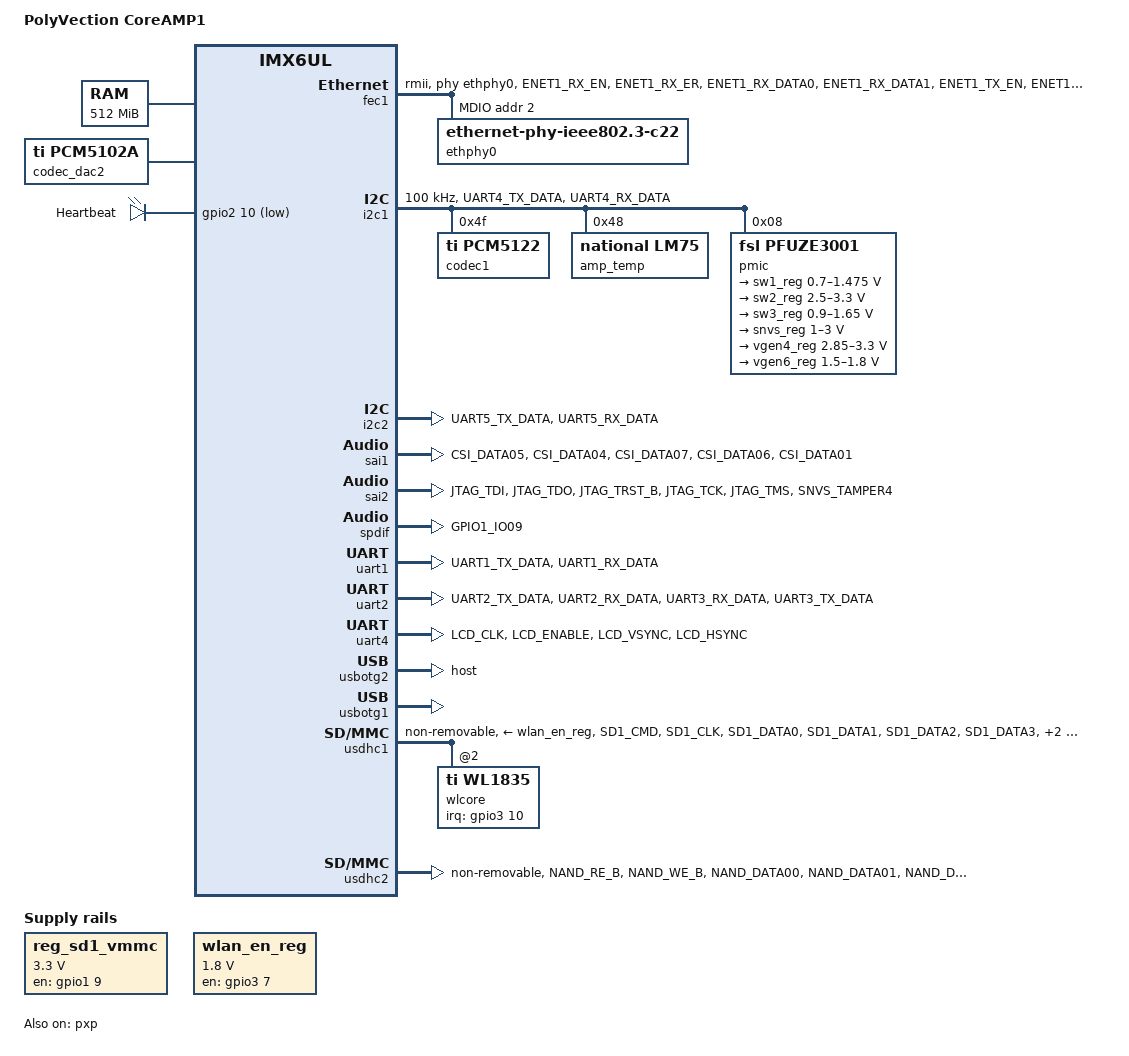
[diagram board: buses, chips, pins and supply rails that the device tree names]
/*
 * Copyright (C) 2015 Freescale Semiconductor, Inc.
 *
 * This program is free software; you can redistribute it and/or modify
 * it under the terms of the GNU General Public License version 2 as
 * published by the Free Software Foundation.
 *
 */

/dts-v1/;

#include <dt-bindings/input/input.h>
#include <dt-bindings/interrupt-controller/irq.h>
#include "imx6ul.dtsi"

/ {
	model = "PolyVection CoreAMP1";
	compatible = "polyvection,polycore1", "fsl,imx6ul";

	chosen {
		stdout-path = &uart1;
	};

	memory {
		reg = <0x80000000 0x20000000>;
	};

	reserved-memory {
		#address-cells = <1>;
		#size-cells = <1>;
		ranges;

		linux,cma {
			compatible = "shared-dma-pool";
			reusable;
			size = <0x14000000>;
			linux,cma-default;
		};
	};

	regulators {
		compatible = "simple-bus";
		#address-cells = <1>;
		#size-cells = <0>;

		reg_sd1_vmmc: regulator@1 {
			compatible = "regulator-fixed";
			regulator-name = "VSD_3V3";
			regulator-min-microvolt = <3300000>;
			regulator-max-microvolt = <3300000>;
			gpio = <&gpio1 9 GPIO_ACTIVE_HIGH>;
			enable-active-high;
		};

		wlan_en_reg: fixedregulator@2 {
			compatible = "regulator-fixed";
			regulator-name = "wlan-en-regulator";	
			regulator-min-microvolt = <1800000>;
			regulator-max-microvolt = <1800000>;
			/* WLAN_EN GPIO for this board - Bank3, pin7 */
			gpio = <&gpio3 7 0>;
			startup-delay-us = <70000>;
			enable-active-high;
		};

	};


	kim {
	        compatible = "kim";
	        nshutdown_gpio = <73>;  // GPIO3_9 The wl8 driver expects gpio to be an integer,b so gpio5_6 is (5-1)*32+6=134
	        dev_name = "/dev/ttymxc3";
	        flow_cntrl = <1>;
	        baud_rate = <115200>;	
	};

	btwilink {
	        compatible = "btwilink";
	
	};


	sound-spdif {
		compatible = "fsl,imx-audio-spdif";
		model = "imx-spdif";
		spdif-controller = <&spdif>;
		spdif-in;
	};

	/*codec_dac1: dac-codec1 {
		compatible = "ti,pcm5102a";
		status = "okay";
	};*/

	codec_dac2: dac-codec2 {
		compatible = "ti,pcm5102a";
		status = "okay";
	};

	sound1 {
		compatible = "polyvection,imx-audio-pcm512x";
		model = "pcm512x";
		cpu-dai = <&sai1>;
		audio-codec = <&codec1>;
		status = "okay";
	};

	/*sound1 {
		compatible = "polyvection,imx-audio-pcm5102a";
		model = "pcm5102a-audio";
		cpu-dai = <&sai1>;
		audio-codec = <&codec_dac1>;
		status = "okay";
	};*/

	sound2 {
		compatible = "polyvection,imx-audio-pcm5102a";
		model = "pcm5102a-audio";
		cpu-dai = <&sai2>;
		audio-codec = <&codec_dac2>;
		status = "okay";
	};

	/*spi4 {
		compatible = "spi-gpio";
		pinctrl-names = "default";
		pinctrl-0 = <&pinctrl_spi4>;
		pinctrl-assert-gpios = <&gpio5 8 GPIO_ACTIVE_LOW>;
		status = "okay";
		gpio-sck = <&gpio5 11 0>;
		gpio-mosi = <&gpio5 10 0>;
		cs-gpios = <&gpio5 7 0>;
		num-chipselects = <1>;
		#address-cells = <1>;
		#size-cells = <0>;
	};*/

	leds {
		compatible = "gpio-leds";

		user_led: user {
			label = "Heartbeat";
			pinctrl-names = "default";
			pinctrl-0 = <&pinctrl_led_blue>;
			gpios = <&gpio2 10 GPIO_ACTIVE_LOW>;
			linux,default-trigger = "heartbeat";
		};
	};

};

&cpu0 {
	operating-points = <
		/* kHz    uV */
		528000	1175000
		396000	1025000
		198000	950000
		>;
	fsl,soc-operating-points = <
		/* ARM kHz      SOC uV */
		528000	1175000
		396000	1175000
		198000	1175000
	>;
	arm-supply = <&sw1_reg>;
	soc-supply = <&sw1_reg>;
	fsl,arm-soc-shared = <1>;
};

&clks {
	assigned-clocks = <&clks IMX6UL_CLK_PLL4_AUDIO_DIV>;
	assigned-clock-rates = <722534400>;//, <786432000>;
	
};

&fec1 {
	pinctrl-names = "default";
	pinctrl-0 = <&pinctrl_enet1>;
	phy-mode = "rmii";
	//interrupt-parent = <&gpio2>;
	//interrupts = <41>;
	phy-reset-gpios = <&gpio1 5 0>;
	fsl,magic-packet;
	phy-handle = <&ethphy0>;
	status = "okay";
	
	mdio {
		#address-cells = <1>;
		#size-cells = <0>;

		ethphy0: ethernet-phy@2 {
			compatible = "ethernet-phy-ieee802.3-c22";
			reg = <2>;
		};

	};
};

&gpc {
	fsl,cpu_pupscr_sw2iso = <0x1>;
	fsl,cpu_pupscr_sw = <0x0>;
	fsl,cpu_pdnscr_iso2sw = <0x1>;
	fsl,cpu_pdnscr_iso = <0x1>;
	fsl,ldo-bypass = <0>; /* DCDC, ldo-enable */
};

&i2c1 {
	clock-frequency = <100000>;
	pinctrl-names = "default";
	pinctrl-0 = <&pinctrl_i2c1>;
	status = "okay";

	codec1: pcm5122@4c {
		#sound-dai-cells = <0>;
		compatible = "ti,pcm5122";
		reg = <0x4f>;
		//clocks = <&clks IMX6UL_CLK_SAI1>;
		status = "okay";
	};

	amp_temp: lm75@48 {
		compatible = "national,lm75";
		reg = <0x48>;
	};

	pmic: pfuze3001@08 {
		compatible = "fsl,pfuze3001";
		reg = <0x08>;

		regulators {
			sw1_reg: sw1 { // VCC ARM CORE
				regulator-min-microvolt = <700000>;
				regulator-max-microvolt = <1475000>;
				regulator-boot-on;
				regulator-always-on;
				regulator-ramp-delay = <6250>;
			};

			sw2_reg: sw2 { // SYS 3V3
				regulator-min-microvolt = <2500000>;
				regulator-max-microvolt = <3300000>;
				regulator-boot-on;
				regulator-always-on;
			};

			sw3_reg: sw3 { // NVCC RAM
				regulator-min-microvolt = <900000>;
				regulator-max-microvolt = <1650000>;
				regulator-boot-on;
				regulator-always-on;
			};

			snvs_reg: vsnvs {
				regulator-min-microvolt = <1000000>;
				regulator-max-microvolt = <3000000>;
				regulator-boot-on;
				regulator-always-on;
			};

			vref_reg: vrefddr {
				regulator-boot-on;
				regulator-always-on;
			};

			//vgen1_reg: vldo1 { // NC
			//	regulator-min-microvolt = <0>;
			//	regulator-max-microvolt = <0>;
				//regulator-always-on;
			//};

			//vgen2_reg: vldo2 { // NC
			//	regulator-min-microvolt = <0>;
			//	regulator-max-microvolt = <0>;
			//};

			//vgen3_reg: vccsd { // NC
			//	regulator-min-microvolt = <0>;
			//	regulator-max-microvolt = <0>;
				//regulator-always-on;
			//};

			vgen4_reg: v33 { // ANALOG AUDIO SUPPLY
				regulator-min-microvolt = <2850000>;
				regulator-max-microvolt = <3300000>;
				regulator-always-on;
			};

			//vgen5_reg: vldo3 { // NC
			//	regulator-min-microvolt = <0>;
			//	regulator-max-microvolt = <0>;
				//regulator-always-on;
			//};

			vgen6_reg: vldo4 { //WIFI 1V8
				regulator-min-microvolt = <1500000>;
				regulator-max-microvolt = <1800000>;
				regulator-always-on;
			};
		};
	};
};

&i2c2 {
	clock_frequency = <100000>;
	pinctrl-names = "default";
	pinctrl-0 = <&pinctrl_i2c2>;
	status = "okay";
};

&pxp {
	status = "okay";
};

&sai1 {
	pinctrl-names = "default";
	pinctrl-0 = <&pinctrl_sai1>;

	assigned-clocks = <&clks IMX6UL_CLK_SAI1_SEL>,
			  <&clks IMX6UL_CLK_SAI1>;
	assigned-clock-parents = <&clks IMX6UL_CLK_PLL4_AUDIO_DIV>;
	assigned-clock-rates = <0>, <11289600>;//, <12288000>;
	//fsl,sai-mclk-direction-output;
	status = "okay";
};

&sai2 {
	pinctrl-names = "default";
	pinctrl-0 = <&pinctrl_sai2>;

	assigned-clocks = <&clks IMX6UL_CLK_SAI2_SEL>,
			  <&clks IMX6UL_CLK_SAI2>;
	assigned-clock-parents = <&clks IMX6UL_CLK_PLL4_AUDIO_DIV>;
	assigned-clock-rates = <0>, <11289600>;//, <12288000>;

	status = "okay";
};

&spdif {
	pinctrl-names = "default";
	pinctrl-0 = <&pinctrl_spdif_in>;
	status = "okay";
};

&uart1 {
	pinctrl-names = "default";
	pinctrl-0 = <&pinctrl_uart1>;
	status = "okay";
};

&uart2 {
	pinctrl-names = "default";
	pinctrl-0 = <&pinctrl_uart2>;
	fsl,uart-has-rtscts;
	/* for DTE mode, add below change */
	/* fsl,dte-mode; */
	/* pinctrl-0 = <&pinctrl_uart2dte>; */
	status = "okay";
};

&uart4 {
	
	pinctrl-names = "default";
	pinctrl-0 = <&pinctrl_uart4>;
	status = "okay";
	fsl,uart-has-rtscts;      // enable rts/cts usage on uart4
};

&usbotg2 {
	dr_mode = "host";
	disable-over-current;
	srp-disable;
	hnp-disable;
	adp-disable;
	status = "okay";
};

&usbotg1 {
	dr_mode = "";
	srp-disable;
	hnp-disable;
	adp-disable;
	status = "okay";
};

&usbphy1 {
	tx-d-cal = <0x5>;
};

&usbphy2 {
	tx-d-cal = <0x5>;
};

&usdhc1 {
	pinctrl-names = "default";
	pinctrl-0 = <&pinctrl_usdhc1>;
	keep-power-in-suspend;	
 	enable-sdio-wakeup;
	vmmc-supply = <&wlan_en_reg>;
	non-removable;
	cap-power-off-card;
	status = "okay";

	#address-cells = <1>;
	#size-cells = <0>;
	wlcore: wlcore@0 {
		compatible = "ti,wl1835";
		reg = <2>;
		interrupt-parent = <&gpio3>;
		interrupts = <10 IRQ_TYPE_EDGE_RISING>;
	};
};

&usdhc2 {
	pinctrl-names = "default";
	pinctrl-0 = <&pinctrl_usdhc2>;
	no-1-8-v;
	non-removable;
	keep-power-in-suspend;
	enable-sdio-wakeup;
	status = "okay";
};

&iomuxc {
	pinctrl-names = "default";
	pinctrl-0 = <&pinctrl_hog_1>;
	imx6ul-evk {
		pinctrl_hog_1: hoggrp-1 {
			fsl,pins = <
				MX6UL_PAD_UART1_RTS_B__GPIO1_IO19	0x17059 /* SD1 CD */
				/* MX6UL_PAD_GPIO1_IO05__USDHC1_VSELECT	0x17059  SD1 VSELECT */
				/*MX6UL_PAD_GPIO1_IO09__GPIO1_IO09        0x17059 SD1 RESET */
				MX6UL_PAD_SNVS_TAMPER0__GPIO5_IO00	0x80000000
			>;
		};

		pinctrl_dvfs: dvfsgrp {
			fsl,pins = <
				MX6UL_PAD_SNVS_TAMPER3__GPIO5_IO03	0x79
			>;
		};

		pinctrl_enet1: enet1grp {
			fsl,pins = <
				MX6UL_PAD_ENET1_RX_EN__ENET1_RX_EN	0x1b0b0
				MX6UL_PAD_ENET1_RX_ER__ENET1_RX_ER	0x1b0b0
				MX6UL_PAD_ENET1_RX_DATA0__ENET1_RDATA00	0x1b0b0
				MX6UL_PAD_ENET1_RX_DATA1__ENET1_RDATA01	0x1b0b0
				MX6UL_PAD_ENET1_TX_EN__ENET1_TX_EN	0x1b0b0
				MX6UL_PAD_ENET1_TX_DATA0__ENET1_TDATA00	0x1b0b0
				MX6UL_PAD_ENET1_TX_DATA1__ENET1_TDATA01	0x1b0b0
				MX6UL_PAD_ENET1_TX_CLK__ENET1_REF_CLK1	0x4001b031
				MX6UL_PAD_ENET2_RX_DATA1__GPIO2_IO09	0x000b1
			>;
		};
		
		pinctrl_enet1_irq: enetirqgrp {
			fsl,pins = <
				MX6UL_PAD_ENET2_RX_DATA1__GPIO2_IO09	0x000b1
			>;
		};

		pinctrl_i2c1: i2c1grp {
			fsl,pins = <
				MX6UL_PAD_UART4_TX_DATA__I2C1_SCL 0x4001b8b0
				MX6UL_PAD_UART4_RX_DATA__I2C1_SDA 0x4001b8b0
			>;
		};

		pinctrl_i2c2: i2c2grp {
			fsl,pins = <
				MX6UL_PAD_UART5_TX_DATA__I2C2_SCL 0x4001b8b0
				MX6UL_PAD_UART5_RX_DATA__I2C2_SDA 0x4001b8b0
			>;
		};

		pinctrl_sai1: sai1grp {
			fsl,pins = <
				MX6UL_PAD_CSI_DATA05__SAI1_TX_BCLK	0x11088
				MX6UL_PAD_CSI_DATA04__SAI1_TX_SYNC	0x11088
				MX6UL_PAD_CSI_DATA07__SAI1_TX_DATA	0x11088
				MX6UL_PAD_CSI_DATA06__SAI1_RX_DATA	0x11088
				MX6UL_PAD_CSI_DATA01__SAI1_MCLK		0x11088
			>;
		};

		pinctrl_sai2: sai2grp {
			fsl,pins = <
				MX6UL_PAD_JTAG_TDI__SAI2_TX_BCLK	0x17088
				MX6UL_PAD_JTAG_TDO__SAI2_TX_SYNC	0x17088
				MX6UL_PAD_JTAG_TRST_B__SAI2_TX_DATA	0x11088
				MX6UL_PAD_JTAG_TCK__SAI2_RX_DATA	0x11088
				MX6UL_PAD_JTAG_TMS__SAI2_MCLK		0x17088
				MX6UL_PAD_SNVS_TAMPER4__GPIO5_IO04	0x17059
			>;
		};

		pinctrl_spdif_in: spdifgrp-in {
			fsl,pins = <
				MX6UL_PAD_GPIO1_IO09__SPDIF_IN      0x1b0b0
				/*MX6UL_PAD_JTAG_MOD__SPDIF_OUT           0x1b0b0*/
			>;
		};

		pinctrl_led_green: ledgreengrp {
			fsl,pins = <
				MX6UL_PAD_ENET2_RX_DATA1__GPIO2_IO09    0x1b0b0
			>;
		};

		pinctrl_led_red: ledredgrp {
			fsl,pins = <
				MX6UL_PAD_CSI_DATA00__GPIO4_IO21        0x1b0b0
			>;
		};

		pinctrl_led_blue: ledbluegrp {
			fsl,pins = <
				MX6UL_PAD_ENET2_RX_EN__GPIO2_IO10       0x1b0b0
			>;
		};

		/*pinctrl_spi4: spi4grp {
			fsl,pins = <
				MX6UL_PAD_BOOT_MODE0__GPIO5_IO10	0x70a1
				MX6UL_PAD_BOOT_MODE1__GPIO5_IO11	0x70a1
				MX6UL_PAD_SNVS_TAMPER7__GPIO5_IO07	0x70a1
				MX6UL_PAD_SNVS_TAMPER8__GPIO5_IO08	0x80000000
			>;
		};*/

		pinctrl_uart1: uart1grp {
			fsl,pins = <
				MX6UL_PAD_UART1_TX_DATA__UART1_DCE_TX 0x1b0b1
				MX6UL_PAD_UART1_RX_DATA__UART1_DCE_RX 0x1b0b1
			>;
		};

		pinctrl_uart2: uart2grp {
			fsl,pins = <
				MX6UL_PAD_UART2_TX_DATA__UART2_DCE_TX	0x1b0b1
				MX6UL_PAD_UART2_RX_DATA__UART2_DCE_RX	0x1b0b1
				MX6UL_PAD_UART3_RX_DATA__UART2_DCE_RTS	0x1b0b1
				MX6UL_PAD_UART3_TX_DATA__UART2_DCE_CTS	0x1b0b1
			>;
		};

		pinctrl_uart4: uart4grp {
			fsl,pins = <
				MX6UL_PAD_LCD_CLK__UART4_DCE_TX		0x1b0b1
				MX6UL_PAD_LCD_ENABLE__UART4_DCE_RX	0x1b0b1
				MX6UL_PAD_LCD_VSYNC__UART4_DCE_RTS	0x1b0b1
				MX6UL_PAD_LCD_HSYNC__UART4_DCE_CTS	0x1b0b1
				/*MX6UL_PAD_LCD_DATA04__GPIO3_IO09	0x13059 BT-EN*/
			>;
		};

		pinctrl_usdhc1: usdhc1grp {
			fsl,pins = <
				MX6UL_PAD_SD1_CMD__USDHC1_CMD     	0x17069
				MX6UL_PAD_SD1_CLK__USDHC1_CLK     	0x10069
				MX6UL_PAD_SD1_DATA0__USDHC1_DATA0 	0x17069
				MX6UL_PAD_SD1_DATA1__USDHC1_DATA1 	0x17069
				MX6UL_PAD_SD1_DATA2__USDHC1_DATA2 	0x17069
				MX6UL_PAD_SD1_DATA3__USDHC1_DATA3 	0x17069
				MX6UL_PAD_LCD_DATA02__GPIO3_IO07	0x13059	/*WL EN*/
				MX6UL_PAD_LCD_DATA05__GPIO3_IO10	0x13059 /*WL IRQ*/
			>;
		};

		pinctrl_usdhc1_100mhz: usdhc1grp100mhz {
			fsl,pins = <
				MX6UL_PAD_SD1_CMD__USDHC1_CMD     0x170b9
				MX6UL_PAD_SD1_CLK__USDHC1_CLK     0x100b9
				MX6UL_PAD_SD1_DATA0__USDHC1_DATA0 0x170b9
				MX6UL_PAD_SD1_DATA1__USDHC1_DATA1 0x170b9
				MX6UL_PAD_SD1_DATA2__USDHC1_DATA2 0x170b9
				MX6UL_PAD_SD1_DATA3__USDHC1_DATA3 0x170b9
			>;
		};

		pinctrl_usdhc1_200mhz: usdhc1grp200mhz {
			fsl,pins = <
				MX6UL_PAD_SD1_CMD__USDHC1_CMD     0x170f9
				MX6UL_PAD_SD1_CLK__USDHC1_CLK     0x100f9
				MX6UL_PAD_SD1_DATA0__USDHC1_DATA0 0x170f9
				MX6UL_PAD_SD1_DATA1__USDHC1_DATA1 0x170f9
				MX6UL_PAD_SD1_DATA2__USDHC1_DATA2 0x170f9
				MX6UL_PAD_SD1_DATA3__USDHC1_DATA3 0x170f9
			>;
		};

		pinctrl_usdhc2: usdhc2grp {
			fsl,pins = <
				MX6UL_PAD_NAND_RE_B__USDHC2_CLK     0x10069
				MX6UL_PAD_NAND_WE_B__USDHC2_CMD     0x17059
				MX6UL_PAD_NAND_DATA00__USDHC2_DATA0 0x17059
				MX6UL_PAD_NAND_DATA01__USDHC2_DATA1 0x17059
				MX6UL_PAD_NAND_DATA02__USDHC2_DATA2 0x17059
				MX6UL_PAD_NAND_DATA03__USDHC2_DATA3 0x17059
			>;
		};
	};
};
